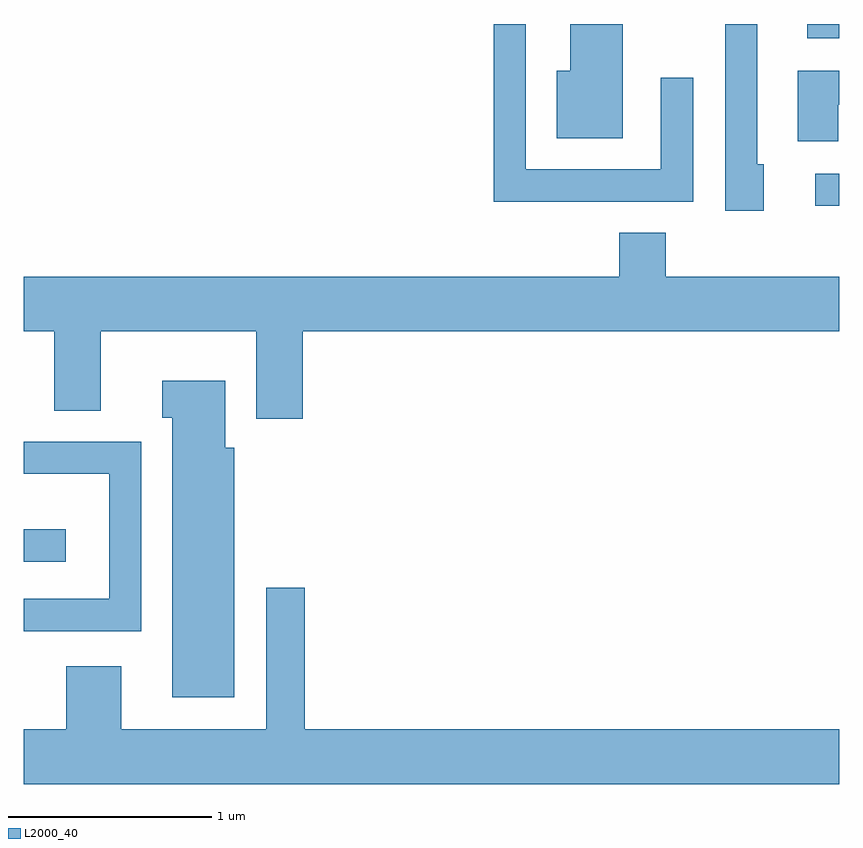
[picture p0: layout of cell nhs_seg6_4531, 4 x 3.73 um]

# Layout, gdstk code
import gdstk
lib = gdstk.Library(unit=1e-6, precision=1e-09)
def R(c, l, rs):  # rectangles x0, y0, x1, y1
    for r in rs: c.add(gdstk.rectangle(r[:2], r[2:], *l))
def P(c, l, *ps):  # polygons
    for p in ps: c.add(gdstk.Polygon(p, *l))
L2000_40 = (2000, 40)

nhs_seg6_4531 = lib.new_cell('nhs_seg6_4531')
R(nhs_seg6_4531, L2000_40, [(323.611,1595.526,323.818,1595.684), (327.493,1597.271,327.611,1597.429), (327.453,1598.091,327.611,1598.162)])
P(nhs_seg6_4531, L2000_40, [(326.894,1597.898),(326.736,1597.898),(326.736,1597.449),(326.074,1597.449),(326.074,1598.162),(325.916,1598.162),(325.916,1597.291),(326.894,1597.291)],
  [(327.239,1597.474),(327.209,1597.474),(327.209,1598.162),(327.051,1598.162),(327.051,1597.246),(327.239,1597.246)],
  [(326.549,1598.162),(326.291,1598.162),(326.291,1597.934),(326.226,1597.934),(326.226,1597.601),(326.549,1597.601)],
  [(327.604,1597.766),(327.611,1597.766),(327.611,1597.934),(327.406,1597.934),(327.406,1597.586),(327.604,1597.586)],
  [(324.979,1596.656),(327.611,1596.656),(327.611,1596.924),(326.759,1596.924),(326.759,1597.139),(326.531,1597.139),(326.531,1596.924),(323.611,1596.924),(323.611,1596.656),(323.761,1596.656),(323.761,1596.266),(323.989,1596.266),(323.989,1596.656),(324.751,1596.656),(324.751,1596.226),(324.979,1596.226)],
  [(324.644,1596.084),(324.599,1596.084),(324.599,1596.414),(324.291,1596.414),(324.291,1596.231),(324.341,1596.231),(324.341,1594.861),(324.644,1594.861)],
  [(324.189,1596.114),(323.611,1596.114),(323.611,1595.956),(324.031,1595.956),(324.031,1595.344),(323.611,1595.344),(323.611,1595.186),(324.189,1595.186)],
  [(327.611,1594.704),(324.989,1594.704),(324.989,1595.399),(324.801,1595.399),(324.801,1594.704),(324.089,1594.704),(324.089,1595.014),(323.821,1595.014),(323.821,1594.704),(323.611,1594.704),(323.611,1594.436),(327.611,1594.436)])

lib.write_gds('nhs_seg6_4531.gds')
